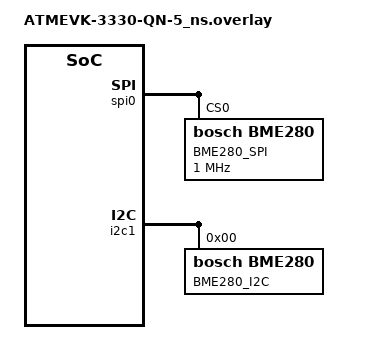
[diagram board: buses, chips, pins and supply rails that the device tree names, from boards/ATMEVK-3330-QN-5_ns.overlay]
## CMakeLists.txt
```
# SPDX-License-Identifier: Apache-2.0

cmake_minimum_required(VERSION 3.28.0)
find_package(Zephyr REQUIRED HINTS $ENV{ZEPHYR_BASE})
project(bme280)

FILE(GLOB app_sources src/*.c)
target_sources(app PRIVATE ${app_sources})
```

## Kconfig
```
# Copyright (c) 2020, Nordic Semiconductor ASA
# SPDX-License-Identifier: Apache-2.0

config LOG
	default y

config LOG_PRINTK
	default y

config SENSOR_LOG_LEVEL
	default 4

# Enable SPI and I2C support by default so that the sample works with
# the device connected either way. These defaults can be overridden if
# needed.
config SPI
	default y

config I2C
	default y

source "Kconfig.zephyr"
```

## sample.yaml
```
sample:
  name: BME280 Sensor sample
common:
  filter: dt_compat_enabled("bosch,bme280")
  tags:
    - sensors
    - bme280
tests:
  sample.sensor.bme280:
    harness: console
    platform_allow:
      - adafruit_feather_m0_basic_proto
      - rpi_pico
    integration_platforms:
      - adafruit_feather_m0_basic_proto
    harness_config:
      type: one_line
      regex:
        - "temp: (.*); press: (.*); humidity: (.*)"
      fixture: fixture_i2c_bme280
  sample.sensor.bme280.spi:
    harness: console
    platform_allow:
      - lpcxpresso55s16
    depends_on:
      - spi
    extra_args: "SHIELD=mikroe_weather_click_spi"
    harness_config:
      type: one_line
      regex:
        - "temp: (.*); press: (.*); humidity: (.*)"
      fixture: fixture_spi_bme280
  sample.sensor.bme280.rpi_pico.pio:
    harness: console
    platform_allow: rpi_pico
    integration_platforms:
      - rpi_pico
    extra_args: "DTC_OVERLAY_FILE=rpi_pico_spi_pio.overlay"
    harness_config:
      type: one_line
      regex:
        - "temp: (.*); press: (.*); humidity: (.*)"
      fixture: fixture_rpi_pico_pio_spi_bme280
```

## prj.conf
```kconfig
CONFIG_SENSOR=y
CONFIG_SENSOR_ASYNC_API=y
```

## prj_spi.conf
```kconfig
CONFIG_SPI=y
CONFIG_SENSOR=y
CONFIG_BME280=y
```

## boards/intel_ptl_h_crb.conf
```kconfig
CONFIG_I2C=y
CONFIG_I2C_DW=y
```

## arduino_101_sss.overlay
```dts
/*
 * Copyright (c) 2019 Linaro Limited
 *
 * SPDX-License-Identifier: Apache-2.0
 */

&i2c0 {
	bme280@76 {
		compatible = "bosch,bme280";
		reg = <0x76>;
		label = "BME280";
	};
};
```

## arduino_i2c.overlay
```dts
/*
 * Copyright (c) 2020, Nordic Semiconductor ASA
 *
 * SPDX-License-Identifier: Apache-2.0
 */

/*
 * Example configuration of a BME280 device on an Arduino I2C bus.
 *
 * Device address 0x77 is assumed. Your device may have a different
 * address; check your device documentation if unsure.
 */
&arduino_i2c {
	status = "okay";

	bme280@77 {
		compatible = "bosch,bme280";
		reg = <0x77>;
	};
};
```

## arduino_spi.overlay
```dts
/*
 * Copyright (c) 2020, Nordic Semiconductor ASA
 *
 * SPDX-License-Identifier: Apache-2.0
 */

/* Example configuration of a BME280 device on an Arduino SPI bus. */

&arduino_spi {
	cs-gpios = <&arduino_header 16 GPIO_ACTIVE_LOW>;
	status = "okay";

	bme280@0 {
		compatible = "bosch,bme280";
		reg = <0>;
		spi-max-frequency = <1000000>; /* conservatively set to 1MHz */
	};
};
```

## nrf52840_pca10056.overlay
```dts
/*
 * Copyright (c) 2020, Nordic Semiconductor ASA
 *
 * SPDX-License-Identifier: Apache-2.0
 */

&i2c0 {
	bme280@76 {
		compatible = "bosch,bme280";
		reg = <0x76>;
		label = "BME280";
	};
};
```

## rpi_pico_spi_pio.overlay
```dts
&pinctrl {
	pio0_spi0_default: pio0_spi0_default {
		/* gpio 13 is used for chip select, not assigned to the PIO */
		group1 {
			pinmux = <PIO0_P14>, <PIO0_P15>;
		};

		group2 {
			pinmux = <PIO0_P12>;
			input-enable;
		};
	};
};

&pio0 {
	status = "okay";

	pio0_spi0: pio0_spi0 {

		compatible = "raspberrypi,pico-spi-pio";
		pinctrl-0 = <&pio0_spi0_default>;
		pinctrl-names = "default";
		#address-cells = <1>;
		#size-cells = <0>;
		clocks = <&clocks RPI_PICO_CLKID_CLK_SYS>;
		sdi-gpios = <&gpio0 12 0>;
		cs-gpios = <&gpio0 13 GPIO_ACTIVE_LOW>;
		clk-gpios = <&gpio0 14 GPIO_ACTIVE_HIGH>;
		sdo-gpios = <&gpio0 15 GPIO_ACTIVE_HIGH>;
		status = "okay";

		bme280@0 {
			compatible = "bosch,bme280";
			reg = <0>;
			spi-max-frequency = <1000000>; /* conservatively set to 1MHz */
		};
	};
};
```

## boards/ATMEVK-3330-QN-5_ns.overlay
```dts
/*
 * Copyright (c) 2023 Atmosic
 *
 * SPDX-License-Identifier: Apache-2.0
 */

&spi0 {
	status = "okay";
	bme280@0 {
		compatible = "bosch,bme280";
		reg = <0>;
		label = "BME280_SPI";
		spi-max-frequency = <1000000>;
	};
};

&i2c1 {
	status = "okay";
	bme280@0 {
		compatible = "bosch,bme280";
		reg = <0>;
		label = "BME280_I2C";
	};
};
```

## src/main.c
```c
/*
 * Copyright (c) 2012-2014 Wind River Systems, Inc.
 * Copyright (c) 2021 Nordic Semiconductor ASA
 *
 * SPDX-License-Identifier: Apache-2.0
 */

#include <zephyr/kernel.h>
#include <zephyr/device.h>
#include <zephyr/devicetree.h>
#include <zephyr/drivers/sensor.h>
#include <zephyr/drivers/sensor_data_types.h>
#include <zephyr/rtio/rtio.h>
#include <zephyr/dsp/print_format.h>

/*
 * Get a device structure from a devicetree node with compatible
 * "bosch,bme280". (If there are multiple, just pick one.)
 */
const struct device *const dev = DEVICE_DT_GET_ANY(bosch_bme280);

SENSOR_DT_READ_IODEV(iodev, DT_COMPAT_GET_ANY_STATUS_OKAY(bosch_bme280),
		{SENSOR_CHAN_AMBIENT_TEMP, 0},
		{SENSOR_CHAN_HUMIDITY, 0},
		{SENSOR_CHAN_PRESS, 0});

RTIO_DEFINE(ctx, 1, 1);

static const struct device *check_bme280_device(void)
{
	if (dev == NULL) {
		/* No such node, or the node does not have status "okay". */
		printk("\nError: no device found.\n");
		return NULL;
	}

	if (!device_is_ready(dev)) {
		printk("\nError: Device \"%s\" is not ready; "
		       "check the driver initialization logs for errors.\n",
		       dev->name);
		return NULL;
	}

	printk("Found device \"%s\", getting sensor data\n", dev->name);
	return dev;
}

int main(void)
{
	const struct device *dev = check_bme280_device();

	if (dev == NULL) {
		return 0;
	}

	while (1) {
		uint8_t buf[128];

		int rc = sensor_read(&iodev, &ctx, buf, 128);

		if (rc != 0) {
			printk("%s: sensor_read() failed: %d\n", dev->name, rc);
			return rc;
		}

		const struct sensor_decoder_api *decoder;

		rc = sensor_get_decoder(dev, &decoder);

		if (rc != 0) {
			printk("%s: sensor_get_decode() failed: %d\n", dev->name, rc);
			return rc;
		}

		uint32_t temp_fit = 0;
		struct sensor_q31_data temp_data = {0};

		decoder->decode(buf,
			(struct sensor_chan_spec) {SENSOR_CHAN_AMBIENT_TEMP, 0},
			&temp_fit, 1, &temp_data);

		uint32_t press_fit = 0;
		struct sensor_q31_data press_data = {0};

		decoder->decode(buf,
				(struct sensor_chan_spec) {SENSOR_CHAN_PRESS, 0},
				&press_fit, 1, &press_data);

		uint32_t hum_fit = 0;
		struct sensor_q31_data hum_data = {0};

		decoder->decode(buf,
				(struct sensor_chan_spec) {SENSOR_CHAN_HUMIDITY, 0},
				&hum_fit, 1, &hum_data);

		printk("temp: %s%d.%d; press: %s%d.%d; humidity: %s%d.%d\n",
			PRIq_arg(temp_data.readings[0].temperature, 6, temp_data.shift),
			PRIq_arg(press_data.readings[0].pressure, 6, press_data.shift),
			PRIq_arg(hum_data.readings[0].humidity, 6, hum_data.shift));

		k_sleep(K_MSEC(1000));
	}
	return 0;
}
```
